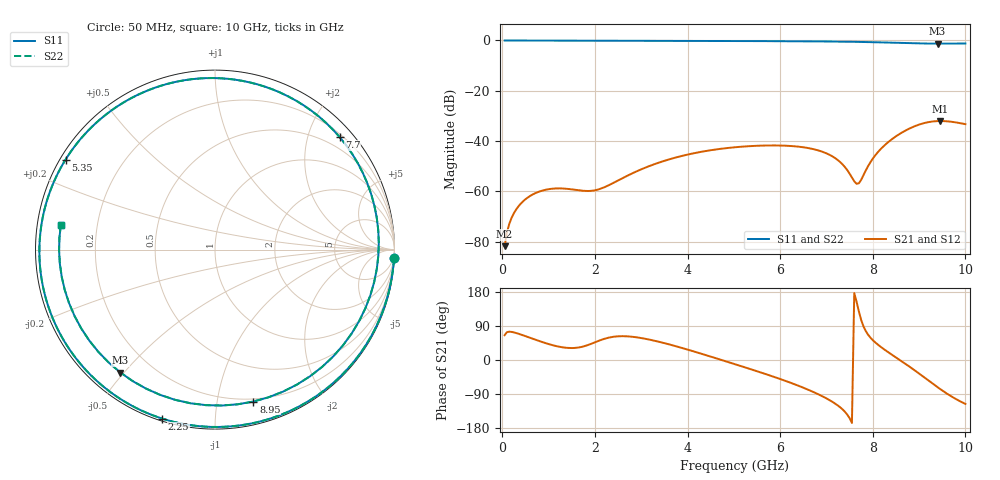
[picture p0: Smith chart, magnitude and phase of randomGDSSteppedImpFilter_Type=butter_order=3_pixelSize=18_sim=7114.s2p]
! freq	dB(S11)	phase(S11)	dB(S12)	phase(S12)
!  dB(S21)	phase(S21)	dB(S22)	phase(S22)
!S-par simulation data
#  GHz  S  DB  R 50
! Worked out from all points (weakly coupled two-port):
!   200 points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, 50 MHz to 10 GHz, reference 50 ohm
!   highest |S21| = -32.03 dB at 9.45 GHz (marker M1); lowest = -81.8 dB at 50 MHz (marker M2)
!   lowest |S11| = -1.3 dB at 9.4 GHz (marker M3), VSWR 13.72, Z = 4.52 - j24.5 ohm
!   |S11| at or under -10 dB: nowhere
!   |S22| runs from -1.3 to 0.0 dB; largest |S21 - S12| = 0
!   S11 on the Smith chart (normalised r, x): 50 MHz: 1, -41; 2.25 GHz: 0.01, -0.74; 5.35 GHz: 0.02, +0.28; 7.7 GHz: 0.26, +2.58; 8.95 GHz: 0.18, -1.27; 10 GHz: 0.07, +0.08
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0.05  -0.01 -2.8  -81.77 65.4  -81.77 65.4  -0.01 -2.8
0.25  -0.03 -13.5  -68.68 72.9  -68.68 72.9  -0.03 -13.5
0.6  -0.05 -31.9  -61.82 58.6  -61.82 58.6  -0.05 -31.9
1.15  -0.07 -59.4  -58.83 37.1  -58.83 37.1  -0.07 -59.4
1.75  -0.10 -86.8  -59.77 35.7  -59.77 35.7  -0.10 -86.8
2.25  -0.12 -107.3  -57.98 57.5  -57.98 57.5  -0.12 -107.3
3.4  -0.15 -148.5  -48.45 47.6  -48.45 47.6  -0.15 -148.5
4.2  -0.18 -174.2  -44.60 20.2  -44.60 20.2  -0.18 -174.2
5.05  -0.23 158.8  -42.41 -12.0  -42.41 -12.0  -0.23 158.8
5.35  -0.25 149.0  -42.01 -23.7  -42.01 -23.7  -0.25 149.0
6.7  -0.37 97.7  -43.12 -83.5  -43.12 -83.5  -0.37 97.6
7.2  -0.45 72.9  -46.93 -116.1  -46.93 -116.1  -0.45 72.8
7.7  -0.58 42.1  -56.77 128.1  -56.77 128.1  -0.58 42.0
8  -0.69 19.6  -47.00 52.5  -47.00 52.5  -0.69 19.5
8.35  -0.87 -11.4  -40.16 19.2  -40.16 19.2  -0.87 -11.6
8.65  -1.03 -42.1  -36.39 -5.5  -36.39 -5.5  -1.03 -42.4
8.95  -1.18 -75.8  -33.77 -31.3  -33.77 -31.3  -1.18 -76.1
9.15  -1.24 -99.0  -32.66 -49.3  -32.66 -49.3  -1.24 -99.3
9.4  -1.27 -127.6  -32.05 -71.9  -32.05 -71.9  -1.27 -127.8
9.45  -1.27 -133.1  -32.03 -76.2  -32.03 -76.2  -1.27 -133.3
9.7  -1.25 -159.8  -32.33 -96.3  -32.33 -96.3  -1.25 -160.0
10  -1.21 171.0  -33.28 -115.9  -33.28 -115.9  -1.21 170.9
